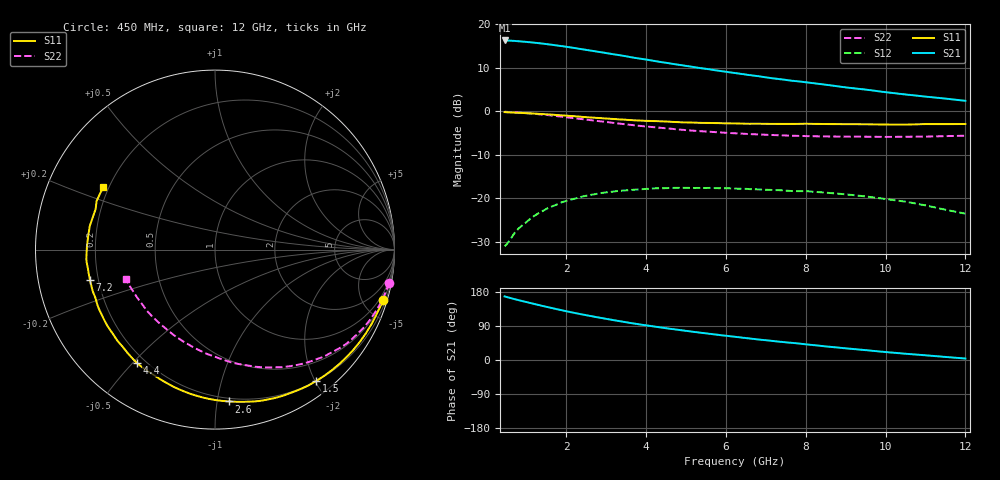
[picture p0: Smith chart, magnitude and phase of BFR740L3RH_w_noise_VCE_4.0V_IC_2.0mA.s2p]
! (c) 2012  Infineon Technologies AG, Munich
! Infineon Technologies  Discrete & RF Semiconductors
! BFR740L3RH
! VCE =  4.0 V,  IC =  2.0 mA
! Common Emitter S-Parameters:  May 2012
# GHz  S  MA  R  50
!  f  S11  S21  S12  S22
! GHz  MAG  ANG  MAG  ANG  MAG  ANG  MAG  ANG
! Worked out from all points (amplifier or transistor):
!   85 points, 450 MHz to 12 GHz, reference 50 ohm
!   highest |S21| = 16.3 dB at 450 MHz (marker M1)
!   |S21| within 3 dB of that: start of sweep to 3.061 GHz
!   unconditionally stable (mu >= 1): 10.06 GHz to end of sweep
!   at 1.8 GHz: K = 0.10, MSG = 18.2 dB, |S12| = -21.3 dB
!   at 4.6 GHz: K = 0.27, MSG = 14.3 dB, |S12| = -17.6 dB
!   at 12 GHz: K = 1.80, MAG = 7.8 dB, |S12| = -23.6 dB
!   lowest NFmin = 0.30 dB at 450 MHz
!   S11 on the Smith chart (normalised r, x): 450 MHz: 0.50, -6.74; 1.5 GHz: 0.20, -2.02; 2.6 GHz: 0.18, -1.08; 4.4 GHz: 0.17, -0.51; 7.2 GHz: 0.17, -0.12; 12 GHz: 0.18, +0.25
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0.45  0.9789 -16.8  6.545 167.8  0.028 79.6  0.9881 -10.8
0.7  0.9658 -25.5  6.464 160.6  0.0397 71.7  0.9731 -16.5
0.9  0.9568 -32.5  6.353 155.3  0.0489 67.3  0.9597 -21.0
1.2  0.941 -42.7  6.167 147.7  0.0628 61.0  0.9361 -27.5
1.5  0.924 -52.4  5.942 140.3  0.0753 54.4  0.9084 -33.9
1.7  0.9108 -58.9  5.781 135.5  0.0823 50.2  0.8876 -37.9
2  0.8912 -68.2  5.535 128.6  0.0931 44.7  0.8552 -43.5
2.4  0.8625 -79.5  5.179 120.1  0.1043 37.5  0.8122 -50.7
2.6  0.8497 -84.7  5.009 116.2  0.1089 33.9  0.7917 -54.1
3  0.8263 -94.9  4.684 108.5  0.1166 27.5  0.7534 -60.4
3.6  0.7931 -108.8  4.214 97.8  0.1241 18.9  0.6989 -69.4
3.9  0.7793 -115.0  4.005 92.9  0.1269 14.9  0.6754 -73.4
4.3  0.7695 -122.8  3.738 86.9  0.13 9.9  0.6492 -78.7
4.4  0.7669 -124.6  3.676 85.4  0.13 8.8  0.6432 -80.0
5.2  0.7406 -138.7  3.228 74.1  0.131 -0.1  0.5971 -89.9
5.9  0.729 -149.2  2.897 65.1  0.1302 -7.8  0.5693 -98.4
6.3  0.7241 -154.8  2.73 60.3  0.1287 -10.7  0.5565 -102.9
7.2  0.717 -166.3  2.39 49.9  0.124 -19.0  0.5326 -113.4
8.5  0.7137 178.6  2.024 35.9  0.1157 -30.4  0.5135 -127.7
9.5  0.7099 169.2  1.779 26.0  0.1047 -39.6  0.51 -138.3
10.5  0.7025 161.2  1.563 16.5  0.0911 -48.0  0.5094 -148.2
12  0.7139 150.8  1.32 3.9  0.0663 -57.9  0.5236 -161.8
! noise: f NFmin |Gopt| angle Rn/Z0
0.45  0.3  0.73  4  0.25
0.9  0.33  0.7  17  0.24
1.5  0.38  0.66  30  0.23
1.9  0.42  0.66  38  0.22
2.4  0.48  0.64  47  0.21
3.5  0.61  0.6  68  0.19
5.5  0.87  0.65  98  0.16
8  1.18  0.59  137  0.09
10  1.42  0.62  161  0.04
12  1.65  0.69  -163  0.04
